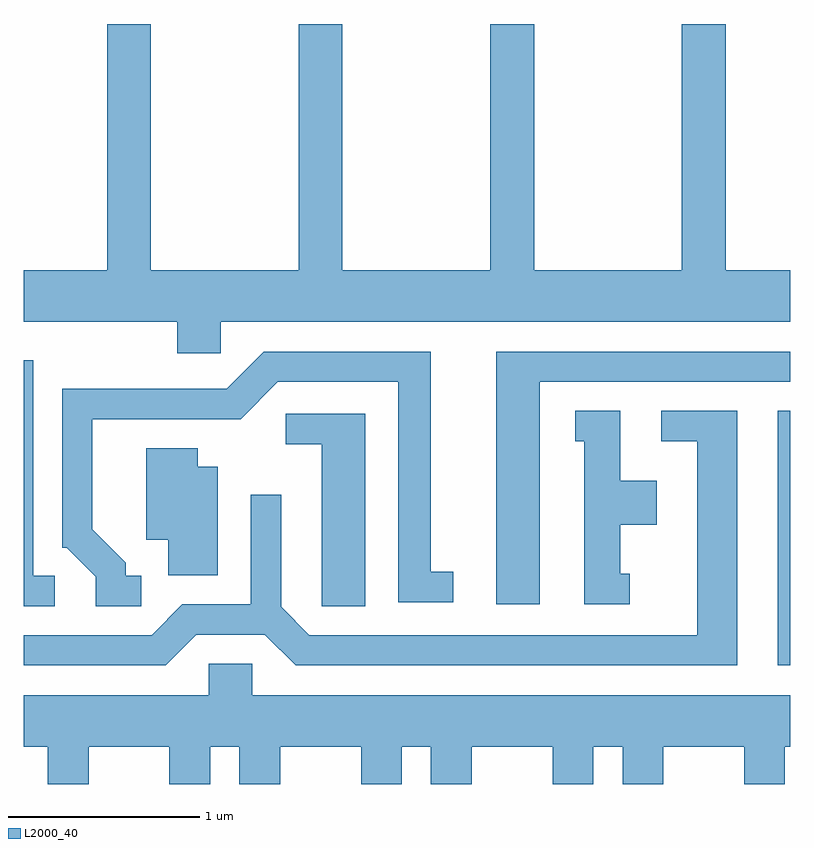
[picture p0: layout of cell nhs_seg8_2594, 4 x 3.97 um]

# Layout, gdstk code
import gdstk
lib = gdstk.Library(unit=1e-6, precision=1e-09)
def R(c, l, rs):  # rectangles x0, y0, x1, y1
    for r in rs: c.add(gdstk.rectangle(r[:2], r[2:], *l))
def P(c, l, *ps):  # polygons
    for p in ps: c.add(gdstk.Polygon(p, *l))
L2000_40 = (2000, 40)

nhs_seg8_2594 = lib.new_cell('nhs_seg8_2594')
R(nhs_seg8_2594, L2000_40, [(265.546,1938.961,265.611,1940.289)])
P(nhs_seg8_2594, L2000_40, [(262.639,1940.756),(265.611,1940.756),(265.611,1941.024),(265.274,1941.024),(265.274,1942.309),(265.046,1942.309),(265.046,1941.024),(264.274,1941.024),(264.274,1942.309),(264.046,1942.309),(264.046,1941.024),(263.274,1941.024),(263.274,1942.309),(263.046,1942.309),(263.046,1941.024),(262.274,1941.024),(262.274,1942.309),(262.046,1942.309),(262.046,1941.024),(261.611,1941.024),(261.611,1940.756),(262.411,1940.756),(262.411,1940.591),(262.639,1940.591)],
  [(264.304,1940.441),(265.611,1940.441),(265.611,1940.599),(264.076,1940.599),(264.076,1939.281),(264.304,1939.281)],
  [(262.223,1939.429),(262.144,1939.429),(262.144,1939.497),(261.969,1939.672),(261.969,1940.246),(262.742,1940.246),(262.937,1940.441),(263.566,1940.441),(263.566,1939.291),(263.853,1939.291),(263.853,1939.449),(263.734,1939.449),(263.734,1940.599),(262.864,1940.599),(262.669,1940.404),(261.811,1940.404),(261.811,1939.576),(261.834,1939.576),(261.986,1939.424),(261.986,1939.271),(262.223,1939.271)],
  [(261.772,1939.429),(261.659,1939.429),(261.659,1940.554),(261.611,1940.554),(261.611,1939.271),(261.772,1939.271)],
  [(264.773,1939.439),(264.724,1939.439),(264.724,1939.696),(264.914,1939.696),(264.914,1939.924),(264.724,1939.924),(264.724,1940.289),(264.488,1940.289),(264.488,1940.131),(264.536,1940.131),(264.536,1939.281),(264.773,1939.281)],
  [(262.512,1939.121),(262.869,1939.121),(263.029,1938.961),(265.334,1938.961),(265.334,1940.289),(264.938,1940.289),(264.938,1940.131),(265.126,1940.131),(265.126,1939.119),(263.102,1939.119),(262.954,1939.267),(262.954,1939.853),(262.796,1939.853),(262.796,1939.279),(262.439,1939.279),(262.279,1939.119),(261.611,1939.119),(261.611,1938.961),(262.352,1938.961)],
  [(263.394,1940.274),(262.978,1940.274),(262.978,1940.116),(263.166,1940.116),(263.166,1939.271),(263.394,1939.271)],
  [(262.624,1939.999),(262.519,1939.999),(262.519,1940.094),(262.251,1940.094),(262.251,1939.616),(262.366,1939.616),(262.366,1939.431),(262.624,1939.431)],
  [(261.949,1938.536),(262.371,1938.536),(262.371,1938.342),(262.584,1938.342),(262.584,1938.536),(262.736,1938.536),(262.736,1938.342),(262.949,1938.342),(262.949,1938.536),(263.371,1938.536),(263.371,1938.342),(263.584,1938.342),(263.584,1938.536),(263.736,1938.536),(263.736,1938.342),(263.949,1938.342),(263.949,1938.536),(264.371,1938.536),(264.371,1938.342),(264.584,1938.342),(264.584,1938.536),(264.736,1938.536),(264.736,1938.342),(264.949,1938.342),(264.949,1938.536),(265.371,1938.536),(265.371,1938.342),(265.584,1938.342),(265.584,1938.536),(265.611,1938.536),(265.611,1938.804),(262.804,1938.804),(262.804,1938.969),(262.576,1938.969),(262.576,1938.804),(261.611,1938.804),(261.611,1938.536),(261.736,1938.536),(261.736,1938.342),(261.949,1938.342)])

lib.write_gds('nhs_seg8_2594.gds')
